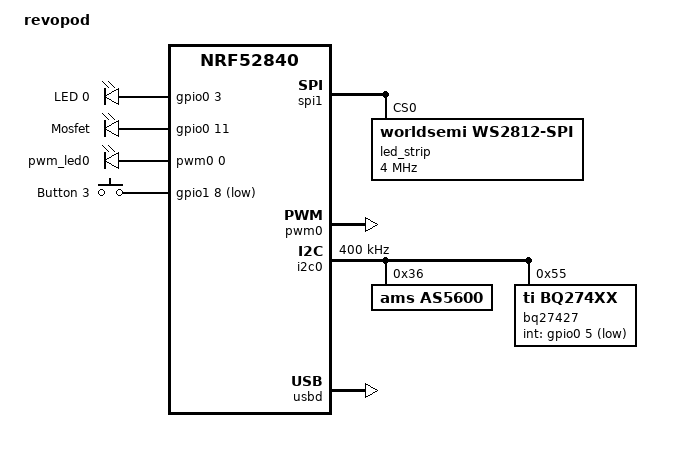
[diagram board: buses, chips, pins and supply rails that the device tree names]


/dts-v1/;
#include <nordic/nrf52840_qiaa.dtsi>
#include "revopod-pinctrl.dtsi"
#include <zephyr/dt-bindings/gpio/gpio.h>
#include <zephyr/dt-bindings/led/led.h>

/ {
	model = "revopod";
	compatible = "revopod";

	chosen {
		zephyr,console = &cdc_acm_uart0;
		zephyr,shell-uart = &uart0;
		zephyr,uart-mcumgr = &uart0;
		zephyr,sram = &sram0;
		zephyr,flash = &flash0;
		zephyr,code-partition = &slot0_partition;
		zephyr,settings-partition = &storage_partition;

	};

	
	leds {
			compatible = "gpio-leds";
			blueled: led_0 {
					/* LED 0 on P0.03, LED on when pin is high */
					gpios = < &gpio0 3 GPIO_ACTIVE_HIGH >;
					label = "LED 0";
			};
			mosfet: mosfet_0 {
				/* LED 0 on P0.03, LED on when pin is high */
				gpios = < &gpio0 11 GPIO_ACTIVE_HIGH >;
				label = "Mosfet";
		};

			


	};

	pwmleds {
		compatible = "pwm-leds";
		pwm_led0: pwm_led_0 {
			pwms = <&pwm0 0 PWM_USEC(1000) PWM_POLARITY_NORMAL>;
		};
	};





	buttons {
			compatible = "gpio-keys";
			/*
				* Add up to 4 total buttons in child nodes as shown here.
				*/

			button_down: button_3 {
					/* Button 3 on P1.15, no internal pull resistor,
						* low is pressed. */
				gpios = <&gpio1 8 (GPIO_PULL_UP | GPIO_ACTIVE_LOW)>;
				label = "Button 3";
			};
		
	};


	

	/* These aliases are provided for compatibility with samples */
	aliases {

		mosfet = &mosfet;
		pwm-led0 = &pwm_led0;
		led0 = &blueled;
		sw3 = &button_down;
		led-strip = &led_strip;

	};
};

&gpiote {
	status = "okay";
};

&gpio0 {
	status = "okay";
};

&gpio1 {
	status = "okay";
};

&spi0 {
	status = "disabled";
};


&spi1 {
	status = "okay";
    compatible = "nordic,nrf-spim";
	pinctrl-0 = <&spi1_default>;
	pinctrl-1 = <&spi1_sleep>;
	pinctrl-names = "default", "sleep";

    led_strip: ws2812@0 {
        compatible = "worldsemi,ws2812-spi";

        /* SPI */
        reg = <0>; /* ignored, but necessary for SPI bindings */
		spi-max-frequency = <4000000>; /* 8 MHz, replace with the desired frequency */

        /* WS2812 */
        chain-length = <16>; /* arbitrary; change at will */
       spi-one-frame = <0x70>;
       spi-zero-frame = <0x40>;    
	   color-mapping = <LED_COLOR_ID_GREEN LED_COLOR_ID_RED LED_COLOR_ID_BLUE>;

	};
};

 

&spi2 {
	status = "disabled";
};


&spi3 {
	status = "disabled";
};


&flash0 {
	partitions {
		compatible = "fixed-partitions";
		#address-cells = <1>;
		#size-cells = <1>;

		boot_partition: partition@0 {
			label = "mcuboot";
			reg = <0x00000000 0xC000>;
		};
		slot0_partition: partition@c000 {
			label = "image-0";
			reg = <0x0000C000 0x37000>;
		};
		slot1_partition: partition@43000 {
			label = "image-1";
			reg = <0x00043000 0x37000>;
		};
		storage_partition: partition@7a000 {
			label = "storage";
			reg = <0x0007A000 0x00006000>;
		};
	};
};

&pwm0 {
	status = "okay";
	pinctrl-0 = <&pwm1_default>;
	pinctrl-1 = <&pwm1_sleep>;
	pinctrl-names = "default", "sleep";
};

&i2c0 {

	status = "okay";

	clock-frequency = <I2C_BITRATE_FAST>;
	pinctrl-0 = <&i2c0_default>;
	pinctrl-1 = <&i2c0_sleep>;
	pinctrl-names = "default", "sleep";
	
	as5600: as5600@36 {
		compatible = "ams,as5600";
		reg = <0x36>;
		status = "okay";
	};

	bq27427: bq27427@55 {
		compatible = "ti,bq274xx";
		reg = <0x55>;
		design-voltage = <3700>;
		design-capacity = <70>;
		taper-current = <90>;
		terminate-voltage = <3000>;
		int-gpios = <&gpio0 5 GPIO_ACTIVE_LOW>;
		status = "okay";

	};

};



zephyr_udc0: &usbd {
	compatible = "nordic,nrf-usbd";
	status = "okay";

	cdc_acm_uart0: cdc_acm_uart0 {
		compatible = "zephyr,cdc-acm-uart";
	};
	
};


